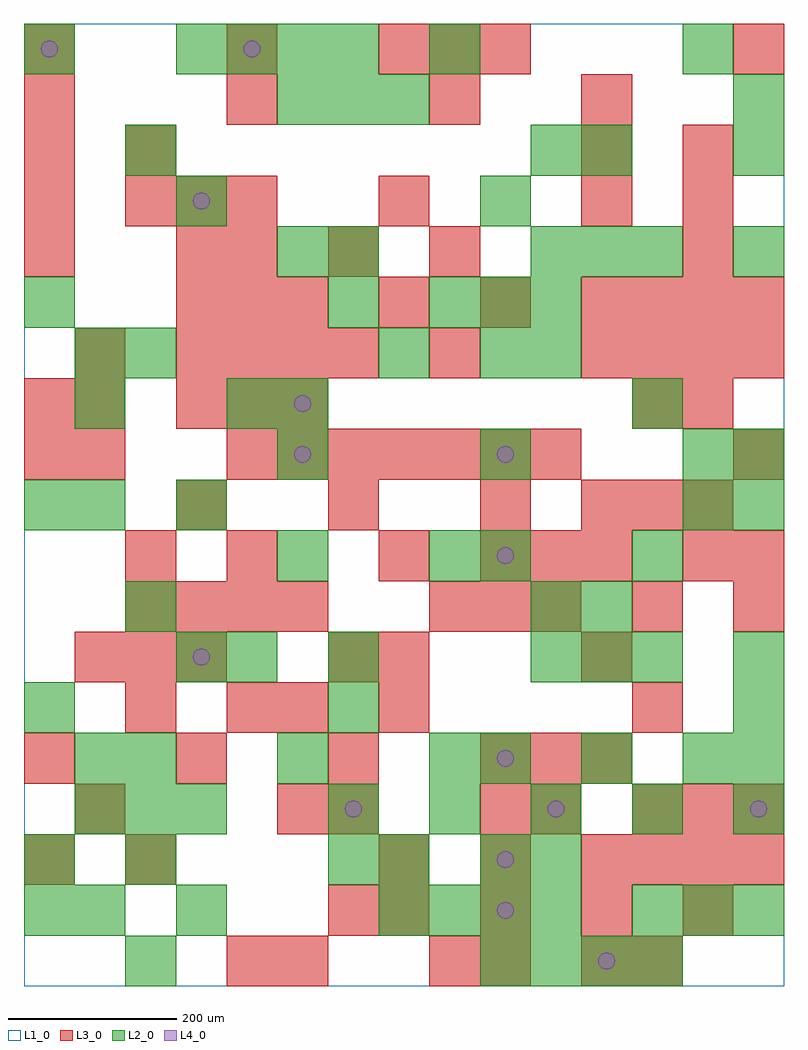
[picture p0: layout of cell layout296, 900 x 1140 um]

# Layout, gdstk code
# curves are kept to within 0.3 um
import gdstk
lib = gdstk.Library(unit=1e-6, precision=1e-09)
def R(c, l, rs):  # rectangles x0, y0, x1, y1
    for r in rs: c.add(gdstk.rectangle(r[:2], r[2:], *l))
def A(c, l, x, y, w, h, nx, ny, dx, dy):  # array of equal rectangles
    R(c, l, [(x+i*dx, y+j*dy, x+i*dx+w, y+j*dy+h) for i in range(nx) for j in range(ny)])
def P(c, l, *ps):  # polygons
    for p in ps: c.add(gdstk.Polygon(p, *l))
L1_0 = (1, 0)
L2_0 = (2, 0)
L3_0 = (3, 0)
L4_0 = (4, 0)

layout296 = lib.new_cell('layout296')
R(layout296, L1_0, [(0,0,900,1140)])
A(layout296, L2_0, 540, 0, 60, 60, 4, 1, 60, 0)
A(layout296, L2_0, 420, 60, 60, 60, 4, 1, 60, 0)
A(layout296, L2_0, 720, 60, 60, 60, 3, 1, 60, 0)
A(layout296, L2_0, 120, 120, 60, 60, 1, 3, 0, 300)
A(layout296, L2_0, 600, 120, 60, 60, 1, 3, 0, 300)
A(layout296, L2_0, 60, 180, 60, 60, 3, 1, 60, 0)
A(layout296, L2_0, 360, 180, 60, 60, 5, 1, 120, 0)
A(layout296, L2_0, 120, 240, 60, 60, 3, 1, 180, 0)
A(layout296, L2_0, 540, 240, 60, 60, 3, 1, 120, 0)
A(layout296, L2_0, 840, 240, 60, 60, 1, 3, 0, 60)
A(layout296, L2_0, 0, 300, 60, 60, 1, 3, 0, 240)
A(layout296, L2_0, 600, 360, 60, 60, 3, 2, 60, 480)
A(layout296, L2_0, 300, 480, 60, 60, 1, 3, 0, 180)
A(layout296, L2_0, 300, 600, 60, 60, 3, 1, 240, 0)
A(layout296, L2_0, 480, 780, 60, 60, 3, 1, 60, 0)
A(layout296, L2_0, 300, 1020, 60, 60, 3, 1, 60, 0)
A(layout296, L2_0, 180, 1080, 60, 60, 4, 1, 60, 0)
R(layout296, L2_0, [(120,0,180,60), (0,60,60,120), (60,60,120,120), (180,60,240,120), (0,120,60,180), (360,120,420,180), (420,120,480,180), (540,120,600,180), (60,240,120,300), (360,300,420,360), (180,360,240,420), (240,360,300,420), (360,360,420,420), (660,420,720,480), (480,480,540,540), (540,480,600,540), (720,480,780,540), (60,540,120,600), (180,540,240,600), (780,540,840,600), (840,540,900,600), (840,600,900,660), (60,660,120,720), (240,660,300,720), (720,660,780,720), (60,720,120,780), (420,720,480,780), (540,720,600,780), (360,780,420,840), (360,840,420,900), (840,840,900,900), (180,900,240,960), (540,900,600,960), (120,960,180,1020), (600,960,660,1020), (660,960,720,1020), (840,960,900,1020), (840,1020,900,1080), (0,1080,60,1140), (480,1080,540,1140), (780,1080,840,1140)])
A(layout296, L3_0, 420, 60, 60, 60, 4, 1, 120, 0)
A(layout296, L3_0, 120, 120, 60, 60, 1, 3, 0, 180)
A(layout296, L3_0, 420, 120, 60, 60, 3, 2, 120, 660)
A(layout296, L3_0, 720, 120, 60, 60, 3, 2, 60, 60)
A(layout296, L3_0, 0, 240, 60, 60, 4, 1, 180, 0)
A(layout296, L3_0, 60, 360, 60, 60, 3, 1, 60, 0)
A(layout296, L3_0, 120, 420, 60, 60, 4, 1, 60, 0)
A(layout296, L3_0, 480, 420, 60, 60, 3, 1, 60, 0)
A(layout296, L3_0, 540, 480, 60, 60, 3, 1, 60, 0)
A(layout296, L3_0, 780, 480, 60, 60, 1, 3, 0, 180)
A(layout296, L3_0, 180, 540, 60, 60, 3, 1, 180, 0)
A(layout296, L3_0, 660, 540, 60, 60, 3, 1, 60, 0)
A(layout296, L3_0, 60, 600, 60, 60, 1, 3, 0, 60)
A(layout296, L3_0, 240, 600, 60, 60, 7, 1, 60, 0)
A(layout296, L3_0, 180, 660, 60, 60, 3, 2, 60, 120)
A(layout296, L3_0, 180, 720, 60, 60, 4, 1, 60, 0)
A(layout296, L3_0, 660, 720, 60, 60, 4, 1, 60, 0)
A(layout296, L3_0, 720, 780, 60, 60, 3, 1, 60, 0)
A(layout296, L3_0, 0, 840, 60, 60, 1, 3, 0, 60)
A(layout296, L3_0, 240, 840, 60, 60, 3, 1, 120, 0)
A(layout296, L3_0, 120, 900, 60, 60, 3, 1, 60, 0)
A(layout296, L3_0, 660, 900, 60, 60, 1, 3, 0, 60)
A(layout296, L3_0, 0, 1020, 60, 60, 3, 1, 240, 0)
A(layout296, L3_0, 420, 1080, 60, 60, 3, 1, 60, 0)
R(layout296, L3_0, [(240,0,300,60), (300,0,360,60), (480,0,540,60), (540,0,600,60), (660,0,720,60), (720,0,780,60), (360,60,420,120), (0,120,60,180), (60,180,120,240), (300,180,360,240), (360,180,420,240), (540,180,600,240), (600,180,660,240), (600,240,660,300), (660,240,720,300), (240,300,300,360), (300,300,360,360), (420,300,480,360), (720,300,780,360), (360,360,420,420), (420,360,480,420), (660,360,720,420), (720,420,780,480), (840,420,900,480), (240,480,300,540), (420,480,480,540), (840,480,900,540), (0,600,60,660), (840,600,900,660), (0,660,60,720), (720,660,780,720), (480,720,540,780), (180,840,240,900), (420,900,480,960), (780,900,840,960), (120,960,180,1020), (780,960,840,1020), (0,1080,60,1140), (240,1080,300,1140), (840,1080,900,1140)])
P(layout296, L4_0, [(40,1110),(39.239,1113.827),(37.071,1117.071),(33.827,1119.239),(30,1120),(26.173,1119.239),(22.929,1117.071),(20.761,1113.827),(20,1110),(20.761,1106.173),(22.929,1102.929),(26.173,1100.761),(30,1100),(33.827,1100.761),(37.071,1102.929),(39.239,1106.173)],
  [(220,390),(219.239,393.827),(217.071,397.071),(213.827,399.239),(210,400),(206.173,399.239),(202.929,397.071),(200.761,393.827),(200,390),(200.761,386.173),(202.929,382.929),(206.173,380.761),(210,380),(213.827,380.761),(217.071,382.929),(219.239,386.173)],
  [(220,930),(219.239,933.827),(217.071,937.071),(213.827,939.239),(210,940),(206.173,939.239),(202.929,937.071),(200.761,933.827),(200,930),(200.761,926.173),(202.929,922.929),(206.173,920.761),(210,920),(213.827,920.761),(217.071,922.929),(219.239,926.173)],
  [(280,1110),(279.239,1113.827),(277.071,1117.071),(273.827,1119.239),(270,1120),(266.173,1119.239),(262.929,1117.071),(260.761,1113.827),(260,1110),(260.761,1106.173),(262.929,1102.929),(266.173,1100.761),(270,1100),(273.827,1100.761),(277.071,1102.929),(279.239,1106.173)],
  [(340,630),(339.239,633.827),(337.071,637.071),(333.827,639.239),(330,640),(326.173,639.239),(322.929,637.071),(320.761,633.827),(320,630),(320.761,626.173),(322.929,622.929),(326.173,620.761),(330,620),(333.827,620.761),(337.071,622.929),(339.239,626.173)],
  [(340,690),(339.239,693.827),(337.071,697.071),(333.827,699.239),(330,700),(326.173,699.239),(322.929,697.071),(320.761,693.827),(320,690),(320.761,686.173),(322.929,682.929),(326.173,680.761),(330,680),(333.827,680.761),(337.071,682.929),(339.239,686.173)],
  [(400,210),(399.239,213.827),(397.071,217.071),(393.827,219.239),(390,220),(386.173,219.239),(382.929,217.071),(380.761,213.827),(380,210),(380.761,206.173),(382.929,202.929),(386.173,200.761),(390,200),(393.827,200.761),(397.071,202.929),(399.239,206.173)],
  [(580,90),(579.239,93.827),(577.071,97.071),(573.827,99.239),(570,100),(566.173,99.239),(562.929,97.071),(560.761,93.827),(560,90),(560.761,86.173),(562.929,82.929),(566.173,80.761),(570,80),(573.827,80.761),(577.071,82.929),(579.239,86.173)],
  [(580,150),(579.239,153.827),(577.071,157.071),(573.827,159.239),(570,160),(566.173,159.239),(562.929,157.071),(560.761,153.827),(560,150),(560.761,146.173),(562.929,142.929),(566.173,140.761),(570,140),(573.827,140.761),(577.071,142.929),(579.239,146.173)],
  [(580,270),(579.239,273.827),(577.071,277.071),(573.827,279.239),(570,280),(566.173,279.239),(562.929,277.071),(560.761,273.827),(560,270),(560.761,266.173),(562.929,262.929),(566.173,260.761),(570,260),(573.827,260.761),(577.071,262.929),(579.239,266.173)],
  [(580,510),(579.239,513.827),(577.071,517.071),(573.827,519.239),(570,520),(566.173,519.239),(562.929,517.071),(560.761,513.827),(560,510),(560.761,506.173),(562.929,502.929),(566.173,500.761),(570,500),(573.827,500.761),(577.071,502.929),(579.239,506.173)],
  [(580,630),(579.239,633.827),(577.071,637.071),(573.827,639.239),(570,640),(566.173,639.239),(562.929,637.071),(560.761,633.827),(560,630),(560.761,626.173),(562.929,622.929),(566.173,620.761),(570,620),(573.827,620.761),(577.071,622.929),(579.239,626.173)],
  [(640,210),(639.239,213.827),(637.071,217.071),(633.827,219.239),(630,220),(626.173,219.239),(622.929,217.071),(620.761,213.827),(620,210),(620.761,206.173),(622.929,202.929),(626.173,200.761),(630,200),(633.827,200.761),(637.071,202.929),(639.239,206.173)],
  [(700,30),(699.239,33.827),(697.071,37.071),(693.827,39.239),(690,40),(686.173,39.239),(682.929,37.071),(680.761,33.827),(680,30),(680.761,26.173),(682.929,22.929),(686.173,20.761),(690,20),(693.827,20.761),(697.071,22.929),(699.239,26.173)],
  [(880,210),(879.239,213.827),(877.071,217.071),(873.827,219.239),(870,220),(866.173,219.239),(862.929,217.071),(860.761,213.827),(860,210),(860.761,206.173),(862.929,202.929),(866.173,200.761),(870,200),(873.827,200.761),(877.071,202.929),(879.239,206.173)])

lib.write_gds('layout296.gds')
